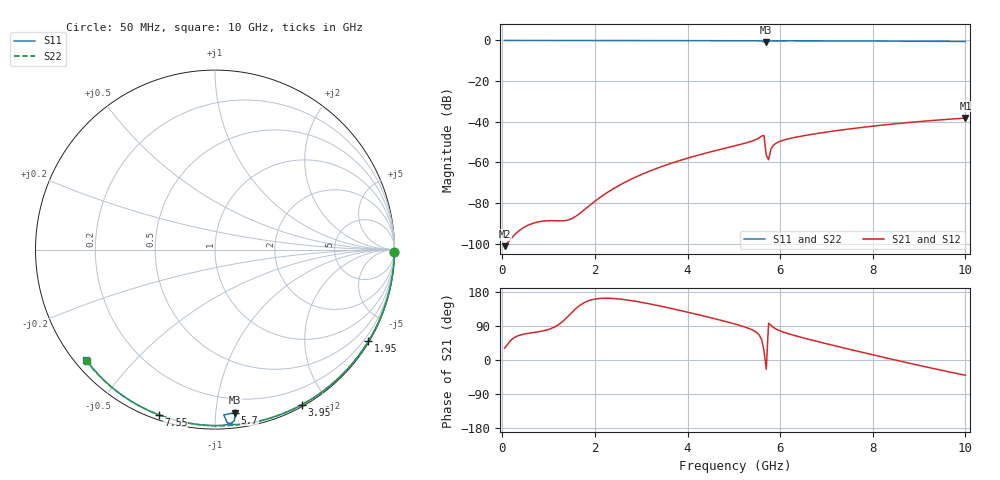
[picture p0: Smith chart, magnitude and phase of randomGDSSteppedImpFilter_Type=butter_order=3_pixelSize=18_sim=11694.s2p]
! freq	dB(S11)	phase(S11)	dB(S12)	phase(S12)
!  dB(S21)	phase(S21)	dB(S22)	phase(S22)
!S-par simulation data
#  GHz  S  DB  R 50
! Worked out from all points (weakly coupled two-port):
!   200 points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, 50 MHz to 10 GHz, reference 50 ohm
!   highest |S21| = -38.21 dB at 10 GHz (marker M1); lowest = -101.3 dB at 50 MHz (marker M2)
!   lowest |S11| = -0.8 dB at 5.7 GHz (marker M3), VSWR 22.40, Z = 5.07 - j56.2 ohm
!   |S11| at or under -10 dB: nowhere
!   |S22| runs from -0.5 to 0.0 dB; largest |S21 - S12| = 0
!   S11 on the Smith chart (normalised r, x): 50 MHz: open; 1.95 GHz: 0.03, -3.62; 3.95 GHz: 0.02, -1.70; 5.7 GHz: 0.10, -1.12; 7.55 GHz: 0.02, -0.71; 10 GHz: 0.03, -0.37
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0.05  -0.00 -0.8  -101.28 31.3  -101.28 31.3  -0.00 -0.8
0.9  -0.02 -14.4  -88.90 77.4  -88.90 77.4  -0.02 -14.4
1.75  -0.04 -27.8  -83.74 150.0  -83.74 150.0  -0.04 -27.7
1.95  -0.04 -30.9  -80.05 159.5  -80.05 159.5  -0.04 -30.8
2.55  -0.05 -40.1  -71.02 160.6  -71.02 160.6  -0.05 -40.0
2.95  -0.06 -46.1  -66.54 153.4  -66.54 153.4  -0.06 -46.1
3.4  -0.07 -52.8  -62.43 142.6  -62.43 142.6  -0.07 -52.7
3.95  -0.08 -60.9  -58.30 127.7  -58.30 127.7  -0.08 -60.7
5.05  -0.12 -76.6  -51.71 94.1  -51.71 94.1  -0.12 -76.2
5.35  -0.14 -81.0  -49.86 82.1  -49.86 82.1  -0.13 -80.3
5.55  -0.21 -84.7  -47.88 65.6  -47.88 65.6  -0.14 -83.0
5.65  -0.70 -86.9  -46.78 25.4  -46.78 25.4  -0.14 -84.4
5.7  -0.78 -83.0  -56.50 -24.2  -56.50 -24.2  -0.14 -85.1
5.75  -0.37 -83.5  -58.70 97.0  -58.70 97.0  -0.15 -85.7
5.8  -0.25 -84.8  -53.49 91.6  -53.49 91.6  -0.15 -86.4
5.85  -0.20 -85.8  -51.72 86.3  -51.72 86.3  -0.15 -87.0
5.95  -0.18 -87.6  -50.11 79.4  -50.11 79.4  -0.15 -88.4
6.2  -0.17 -91.3  -48.30 68.5  -48.30 68.5  -0.16 -91.7
6.7  -0.20 -98.0  -46.16 52.0  -46.16 52.0  -0.19 -98.2
7.55  -0.25 -108.9  -43.41 26.7  -43.41 26.7  -0.24 -108.9
8.35  -0.31 -118.9  -41.34 3.8  -41.34 3.8  -0.30 -118.9
10  -0.49 -139.3  -38.21 -40.3  -38.21 -40.3  -0.47 -138.9
